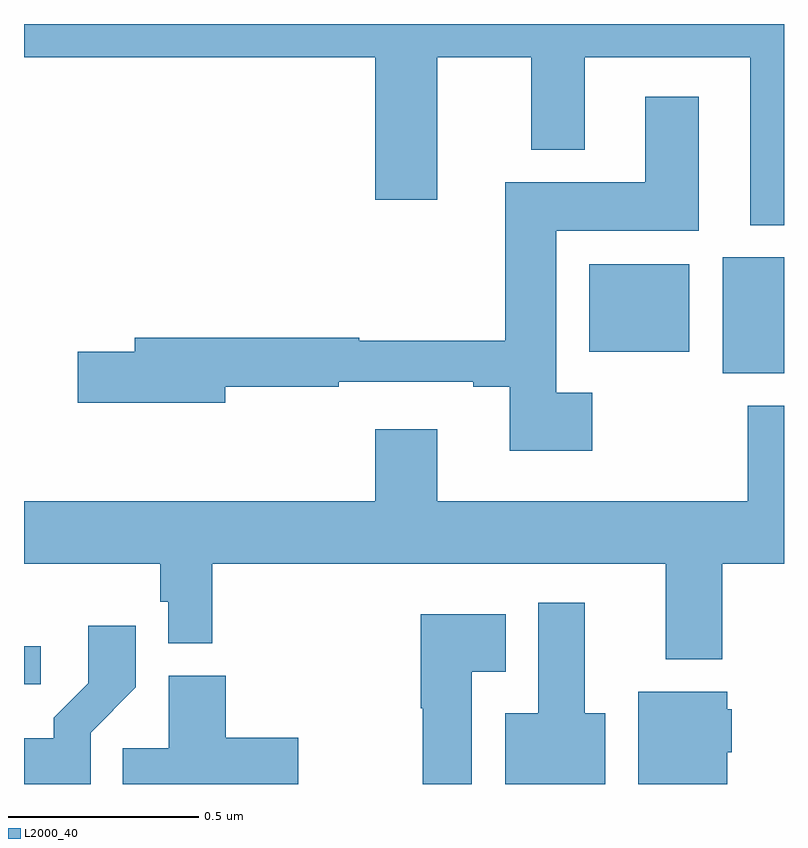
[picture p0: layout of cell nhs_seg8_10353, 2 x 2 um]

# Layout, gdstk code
import gdstk
lib = gdstk.Library(unit=1e-6, precision=1e-09)
def R(c, l, rs):  # rectangles x0, y0, x1, y1
    for r in rs: c.add(gdstk.rectangle(r[:2], r[2:], *l))
def P(c, l, *ps):  # polygons
    for p in ps: c.add(gdstk.Polygon(p, *l))
L2000_40 = (2000, 40)

nhs_seg8_10353 = lib.new_cell('nhs_seg8_10353')
R(nhs_seg8_10353, L2000_40, [(248,1136.163,248.044,1136.262), (249.839,1136.981,250,1137.286), (249.488,1137.038,249.751,1137.268)])
P(nhs_seg8_10353, L2000_40, [(250,1137.9),(248,1137.9),(248,1137.812),(248.924,1137.812),(248.924,1137.438),(249.088,1137.438),(249.088,1137.812),(249.335,1137.812),(249.335,1137.569),(249.475,1137.569),(249.475,1137.812),(249.911,1137.812),(249.911,1137.371),(250,1137.371)],
  [(249.496,1136.929),(249.4,1136.929),(249.4,1137.356),(249.775,1137.356),(249.775,1137.709),(249.635,1137.709),(249.635,1137.484),(249.266,1137.484),(249.266,1137.067),(248.882,1137.067),(248.882,1137.074),(248.291,1137.074),(248.291,1137.038),(248.142,1137.038),(248.142,1136.903),(248.53,1136.903),(248.53,1136.946),(248.828,1136.946),(248.828,1136.958),(249.182,1136.958),(249.182,1136.946),(249.278,1136.946),(249.278,1136.777),(249.496,1136.777)],
  [(249.837,1136.48),(250,1136.48),(250,1136.896),(249.904,1136.896),(249.904,1136.644),(249.088,1136.644),(249.088,1136.833),(248.924,1136.833),(248.924,1136.644),(248,1136.644),(248,1136.48),(248.359,1136.48),(248.359,1136.379),(248.379,1136.379),(248.379,1136.27),(248.495,1136.27),(248.495,1136.48),(249.689,1136.48),(249.689,1136.228),(249.837,1136.228)],
  [(249.529,1136.086),(249.475,1136.086),(249.475,1136.377),(249.353,1136.377),(249.353,1136.086),(249.266,1136.086),(249.266,1135.9),(249.529,1135.9)],
  [(249.178,1136.195),(249.268,1136.195),(249.268,1136.347),(249.044,1136.347),(249.044,1136.099),(249.049,1136.099),(249.049,1135.9),(249.178,1135.9)],
  [(248.175,1136.035),(248.294,1136.154),(248.294,1136.317),(248.169,1136.317),(248.169,1136.165),(248.078,1136.075),(248.078,1136.02),(248,1136.02),(248,1135.9),(248.175,1135.9)],
  [(248.722,1136.022),(248.531,1136.022),(248.531,1136.185),(248.381,1136.185),(248.381,1135.994),(248.26,1135.994),(248.26,1135.9),(248.722,1135.9)],
  [(249.85,1135.983),(249.862,1135.983),(249.862,1136.097),(249.85,1136.097),(249.85,1136.143),(249.617,1136.143),(249.617,1135.9),(249.85,1135.9)])

lib.write_gds('nhs_seg8_10353.gds')
